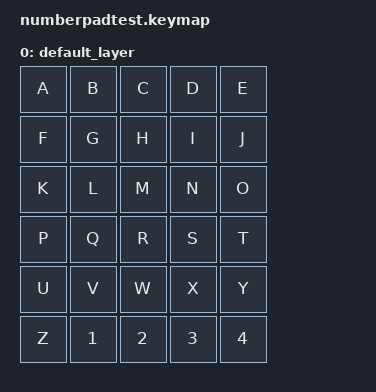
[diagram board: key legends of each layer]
#include <input/processors.dtsi>
#include <dt-bindings/zmk/input_transform.h>
#include <zephyr/dt-bindings/input/input-event-codes.h>
#include <behaviors.dtsi>
#include <dt-bindings/zmk/keys.h>

/ {
    macros {
        double0: double0 {
            compatible = "zmk,behavior-macro";
            #binding-cells = <0>;
            bindings = <&kp N0 &kp N0>;
            label = "DOUBLE0";
            wait-ms = <0>;
            tap-ms = <0>;
        };
    };

    keymap {
        compatible = "zmk,keymap";

        default_layer {
            bindings = <
&kp A  &kp B         &kp C         &kp D         &kp E
&kp F  &kp G         &kp H         &kp I         &kp J
&kp K  &kp L         &kp M         &kp N         &kp O
&kp P  &kp Q         &kp R         &kp S         &kp T
&kp U  &kp V         &kp W         &kp X         &kp Y
&kp Z  &kp NUMBER_1  &kp NUMBER_2  &kp NUMBER_3  &kp NUMBER_4
            >;
        };
    };
};
